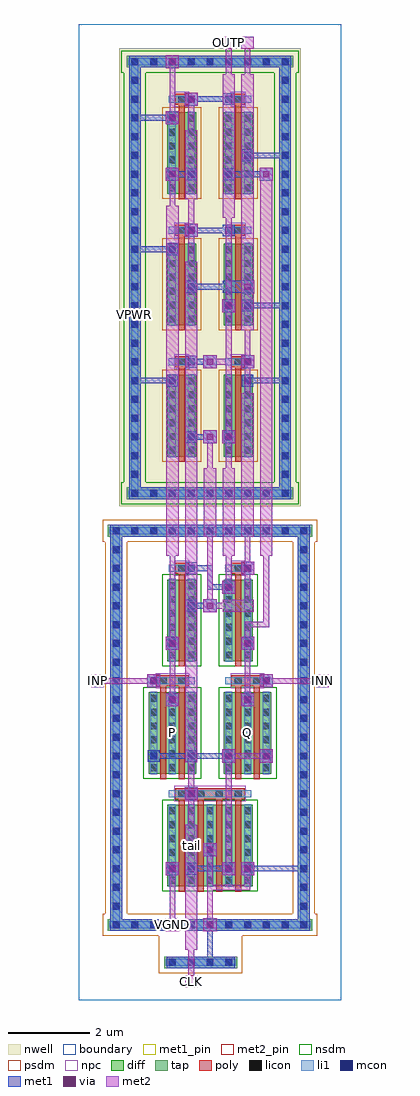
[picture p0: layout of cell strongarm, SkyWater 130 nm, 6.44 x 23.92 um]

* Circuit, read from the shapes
.subckt strongarm CLK INN INP OUTN OUTP P Q VGND VPWR tail
XM1 P INP tail VGND sky130_fd_pr__nfet_01v8 w=2 l=0.15 m=2
XM2 tail CLK VGND VGND sky130_fd_pr__nfet_01v8 w=2 l=0.15 m=4
XM3 OUTN OUTP P VGND sky130_fd_pr__nfet_01v8 w=2 l=0.15
XM4 Q INN tail VGND sky130_fd_pr__nfet_01v8 w=2 l=0.15 m=2
XM5 Q OUTN OUTP VGND sky130_fd_pr__nfet_01v8 w=2 l=0.15
XM6 OUTN OUTP VPWR VPWR sky130_fd_pr__pfet_01v8 w=2 l=0.15
XM7 OUTN CLK VPWR VPWR sky130_fd_pr__pfet_01v8 w=2 l=0.15
XM8 P CLK VPWR VPWR sky130_fd_pr__pfet_01v8 w=2 l=0.15
XM9 VPWR OUTN OUTP VPWR sky130_fd_pr__pfet_01v8 w=2 l=0.15
XM10 VPWR CLK OUTP VPWR sky130_fd_pr__pfet_01v8 w=2 l=0.15
XM11 VPWR CLK Q VPWR sky130_fd_pr__pfet_01v8 w=2 l=0.15
.ends

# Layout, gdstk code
import gdstk
lib = gdstk.Library(unit=1e-6, precision=1e-09)
def R(c, l, rs):  # rectangles x0, y0, x1, y1
    for r in rs: c.add(gdstk.rectangle(r[:2], r[2:], *l))
def A(c, l, x, y, w, h, nx, ny, dx, dy):  # array of equal rectangles
    R(c, l, [(x+i*dx, y+j*dy, x+i*dx+w, y+j*dy+h) for i in range(nx) for j in range(ny)])
nwell = (64, 20)
diff = (65, 20)
tap = (65, 44)
poly = (66, 20)
licon = (66, 44)
li1 = (67, 20)
mcon = (67, 44)
met1_pin = (68, 16)
met1 = (68, 20)
via = (68, 44)
met2_pin = (69, 16)
met2 = (69, 20)
nsdm = (93, 44)
psdm = (94, 20)
npc = (95, 20)
boundary = (235, 4)

strongarm = lib.new_cell('strongarm')
R(strongarm, nwell, [(0.995,12.095,5.445,23.325)])
A(strongarm, diff, 2.175, 13.32, 0.71, 2, 1, 3, 0, 3.22)
A(strongarm, diff, 3.555, 13.32, 0.71, 2, 1, 3, 0, 3.22)
R(strongarm, diff, [(2.175,2.785,4.265,4.785), (1.715,5.545,2.885,7.545), (3.555,5.545,4.725,7.545), (2.175,8.305,2.885,10.305), (3.555,8.305,4.265,10.305)])
R(strongarm, tap, [(2.095,0.775,3.885,1.065), (0.715,1.695,5.725,1.985), (0.775,1.695,1.065,11.645), (5.375,1.695,5.665,11.645), (0.715,11.355,5.725,11.645), (1.175,12.275,5.265,12.565), (1.235,12.275,1.525,23.145), (4.915,12.275,5.205,23.145), (1.175,22.855,5.265,23.145)])
A(strongarm, poly, 2.455, 2.655, 0.15, 2.405, 4, 1, 0.46, 0)
A(strongarm, poly, 2.455, 13.19, 0.15, 2.45, 1, 3, 0, 3.22)
A(strongarm, poly, 3.835, 13.19, 0.15, 2.45, 1, 3, 0, 3.22)
A(strongarm, poly, 2.365, 15.505, 0.33, 0.27, 1, 3, 0, 3.22)
A(strongarm, poly, 3.745, 15.505, 0.33, 0.27, 1, 3, 0, 3.22)
R(strongarm, poly, [(2.365,4.925,4.075,5.195), (1.995,5.415,2.145,7.82), (2.455,5.415,2.605,7.82), (3.835,5.415,3.985,7.82), (4.295,5.415,4.445,7.82), (1.905,7.685,2.695,7.955), (3.745,7.685,4.535,7.955), (2.455,8.175,2.605,10.58), (3.835,8.175,3.985,10.58), (2.365,10.445,2.695,10.715), (3.745,10.445,4.075,10.715)])
A(strongarm, licon, 2.215, 0.835, 0.17, 0.17, 4, 1, 0.46, 0)
A(strongarm, licon, 0.835, 1.755, 0.17, 0.17, 11, 2, 0.46, 9.66)
A(strongarm, licon, 0.835, 2.215, 0.17, 0.17, 1, 20, 0, 0.46)
A(strongarm, licon, 5.435, 2.215, 0.17, 0.17, 1, 20, 0, 0.46)
A(strongarm, licon, 2.215, 2.85, 0.17, 0.17, 5, 6, 0.46, 0.34)
A(strongarm, licon, 2.445, 4.975, 0.17, 0.17, 4, 1, 0.46, 0)
A(strongarm, licon, 1.755, 5.61, 0.17, 0.17, 3, 6, 0.46, 0.34)
A(strongarm, licon, 3.595, 5.61, 0.17, 0.17, 3, 6, 0.46, 0.34)
A(strongarm, licon, 2.215, 8.37, 0.17, 0.17, 1, 6, 0, 0.34)
A(strongarm, licon, 2.675, 8.37, 0.17, 0.17, 1, 6, 0, 0.34)
A(strongarm, licon, 3.595, 8.37, 0.17, 0.17, 1, 6, 0, 0.34)
A(strongarm, licon, 4.055, 8.37, 0.17, 0.17, 1, 6, 0, 0.34)
A(strongarm, licon, 1.295, 12.335, 0.17, 0.17, 9, 2, 0.46, 10.58)
A(strongarm, licon, 1.295, 12.795, 0.17, 0.17, 1, 22, 0, 0.46)
A(strongarm, licon, 4.975, 12.795, 0.17, 0.17, 1, 22, 0, 0.46)
A(strongarm, licon, 2.215, 13.385, 0.17, 0.17, 1, 6, 0, 0.34)
A(strongarm, licon, 2.675, 13.385, 0.17, 0.17, 1, 6, 0, 0.34)
A(strongarm, licon, 3.595, 13.385, 0.17, 0.17, 1, 6, 0, 0.34)
A(strongarm, licon, 4.055, 13.385, 0.17, 0.17, 1, 6, 0, 0.34)
A(strongarm, licon, 2.445, 15.555, 0.17, 0.17, 1, 3, 0, 3.22)
A(strongarm, licon, 3.825, 15.555, 0.17, 0.17, 1, 3, 0, 3.22)
A(strongarm, licon, 2.215, 16.605, 0.17, 0.17, 1, 6, 0, 0.34)
A(strongarm, licon, 2.675, 16.605, 0.17, 0.17, 1, 6, 0, 0.34)
A(strongarm, licon, 3.595, 16.605, 0.17, 0.17, 1, 6, 0, 0.34)
A(strongarm, licon, 4.055, 16.605, 0.17, 0.17, 1, 6, 0, 0.34)
A(strongarm, licon, 2.215, 19.825, 0.17, 0.17, 1, 6, 0, 0.34)
A(strongarm, licon, 2.675, 19.825, 0.17, 0.17, 1, 6, 0, 0.34)
A(strongarm, licon, 3.595, 19.825, 0.17, 0.17, 1, 6, 0, 0.34)
A(strongarm, licon, 4.055, 19.825, 0.17, 0.17, 1, 6, 0, 0.34)
R(strongarm, licon, [(1.985,7.735,2.155,7.905), (2.445,7.735,2.615,7.905), (3.825,7.735,3.995,7.905), (4.285,7.735,4.455,7.905), (2.445,10.495,2.615,10.665), (3.825,10.495,3.995,10.665)])
A(strongarm, li1, 2.215, 2.77, 0.17, 2.03, 5, 1, 0.46, 0)
A(strongarm, li1, 1.755, 5.53, 0.17, 2.03, 3, 1, 0.46, 0)
A(strongarm, li1, 3.595, 5.53, 0.17, 2.03, 3, 1, 0.46, 0)
A(strongarm, li1, 2.215, 13.305, 0.17, 2.03, 1, 3, 0, 3.22)
A(strongarm, li1, 2.675, 13.305, 0.17, 2.03, 1, 3, 0, 3.22)
A(strongarm, li1, 3.595, 13.305, 0.17, 2.03, 1, 3, 0, 3.22)
A(strongarm, li1, 4.055, 13.305, 0.17, 2.03, 1, 3, 0, 3.22)
A(strongarm, li1, 2.215, 15.555, 0.63, 0.17, 1, 3, 0, 3.22)
A(strongarm, li1, 3.595, 15.555, 0.63, 0.17, 1, 3, 0, 3.22)
R(strongarm, li1, [(2.135,0.835,3.845,1.005), (0.755,1.755,5.685,1.925), (0.835,1.755,1.005,11.585), (5.435,1.755,5.605,11.585), (2.215,4.975,4.225,5.145), (1.755,7.735,2.845,7.905), (3.595,7.735,4.685,7.905), (2.215,8.29,2.385,10.32), (2.675,8.29,2.845,10.32), (3.595,8.29,3.765,10.32), (4.055,8.29,4.225,10.32), (2.215,10.495,2.845,10.665), (3.595,10.495,4.225,10.665), (0.755,11.415,5.685,11.585), (1.215,12.335,5.225,12.505), (1.295,12.335,1.465,23.085), (4.975,12.335,5.145,23.085), (1.215,22.915,5.225,23.085)])
A(strongarm, mcon, 2.215, 0.835, 0.17, 0.17, 4, 1, 0.46, 0)
A(strongarm, mcon, 0.835, 1.755, 0.17, 0.17, 11, 2, 0.46, 9.66)
A(strongarm, mcon, 0.835, 2.215, 0.17, 0.17, 1, 3, 0, 0.46)
A(strongarm, mcon, 5.435, 2.215, 0.17, 0.17, 1, 3, 0, 0.46)
A(strongarm, mcon, 0.835, 3.595, 0.17, 0.17, 3, 1, 2.3, 0)
A(strongarm, mcon, 0.835, 4.055, 0.17, 0.17, 1, 4, 0, 0.46)
A(strongarm, mcon, 5.435, 4.055, 0.17, 0.17, 1, 4, 0, 0.46)
A(strongarm, mcon, 0.835, 5.895, 0.17, 0.17, 6, 1, 0.92, 0)
A(strongarm, mcon, 0.835, 6.355, 0.17, 0.17, 1, 11, 0, 0.46)
A(strongarm, mcon, 5.435, 6.355, 0.17, 0.17, 1, 9, 0, 0.46)
A(strongarm, mcon, 2.675, 10.495, 0.17, 0.17, 3, 1, 1.38, 0)
A(strongarm, mcon, 1.295, 12.335, 0.17, 0.17, 9, 2, 0.46, 10.58)
A(strongarm, mcon, 1.295, 12.795, 0.17, 0.17, 1, 6, 0, 0.46)
A(strongarm, mcon, 4.975, 12.795, 0.17, 0.17, 1, 22, 0, 0.46)
A(strongarm, mcon, 2.215, 15.095, 0.17, 0.17, 1, 3, 0, 3.22)
A(strongarm, mcon, 1.295, 15.555, 0.17, 0.17, 3, 1, 1.38, 0)
A(strongarm, mcon, 1.295, 16.015, 0.17, 0.17, 1, 15, 0, 0.46)
A(strongarm, mcon, 2.675, 17.395, 0.17, 0.17, 1, 3, 0, 1.38)
R(strongarm, mcon, [(2.215,3.135,2.385,3.305), (2.675,3.135,2.845,3.305), (3.595,3.135,3.765,3.305), (4.055,3.135,4.225,3.305), (2.675,4.975,2.845,5.145), (2.215,7.275,2.385,7.445), (4.055,7.275,4.225,7.445), (1.755,7.735,1.925,7.905), (4.515,7.735,4.685,7.905), (2.215,8.655,2.385,8.825), (4.055,8.655,4.225,8.825), (2.675,9.575,2.845,9.745), (3.595,10.035,3.765,10.205), (5.435,10.955,5.605,11.125), (2.675,13.715,2.845,13.885), (3.595,13.715,3.765,13.885), (4.055,15.095,4.225,15.265), (3.595,16.935,3.765,17.105), (4.055,16.935,4.225,17.105), (3.595,18.775,3.765,18.945), (3.595,20.155,3.765,20.325), (4.055,20.615,4.225,20.785), (2.675,21.995,2.845,22.165), (3.595,21.995,3.765,22.165)])
R(strongarm, met1_pin, [(2.14,1.68,2.46,2), (1.31,15.11,1.45,18.47)])
A(strongarm, met1, 1.695, 5.835, 0.29, 0.29, 4, 1, 0.92, 0)
A(strongarm, met1, 2.615, 13.655, 0.29, 0.29, 1, 3, 0, 1.84)
A(strongarm, met1, 2.155, 15.035, 0.29, 0.29, 1, 3, 0, 3.22)
A(strongarm, met1, 1.31, 15.11, 1.06, 0.14, 1, 3, 0, 3.22)
A(strongarm, met1, 2.14, 20.08, 0.32, 0.32, 1, 3, 0, 1.38)
R(strongarm, met1, [(2.155,0.775,3.825,1.065), (3.15,0.85,3.29,0.99), (3.15,0.85,3.29,1.91), (2.14,1.68,2.46,2), (3.06,1.68,3.38,2), (0.775,1.695,1.065,11.645), (0.775,1.695,5.665,1.985), (5.375,1.695,5.665,11.645), (2.23,1.77,3.29,1.91), (3.15,1.77,3.29,1.91), (2.14,3.06,2.46,3.38), (3.52,3.06,3.84,3.38), (3.98,3.06,4.3,3.38), (2.155,3.075,2.445,3.365), (2.615,3.075,2.905,3.365), (3.535,3.075,3.825,3.365), (3.995,3.075,4.285,3.365), (2.69,3.15,3.75,3.29), (4.07,3.15,5.59,3.29), (5.45,3.15,5.59,11.57), (3.06,3.52,3.38,3.84), (3.075,3.535,3.365,3.825), (2.6,4.9,2.92,5.22), (2.615,4.915,2.905,5.205), (3.52,5.82,3.84,6.14), (4.44,5.82,4.76,6.14), (1.77,5.91,2.83,6.05), (2.69,5.91,3.75,6.05), (2.14,7.2,2.46,7.52), (3.98,7.2,4.3,7.52), (2.155,7.215,2.445,7.505), (3.995,7.215,4.285,7.505), (1.68,7.66,2,7.98), (4.44,7.66,4.76,7.98), (1.695,7.675,1.985,7.965), (4.455,7.675,4.745,7.965), (2.14,8.58,2.46,8.9), (3.98,8.58,4.3,8.9), (2.155,8.595,2.445,8.885), (3.995,8.595,4.285,8.885), (3.06,9.5,3.38,9.82), (2.615,9.515,2.905,9.805), (2.69,9.59,3.29,9.73), (3.52,9.96,3.84,10.28), (3.535,9.975,3.825,10.265), (3.15,10.05,3.75,10.19), (3.15,10.05,3.29,10.65), (3.98,10.42,4.3,10.74), (2.615,10.435,2.905,10.725), (3.995,10.435,4.285,10.725), (2.69,10.51,3.29,10.65), (0.775,11.355,5.665,11.645), (5.45,11.43,5.59,11.57), (1.235,12.275,5.205,12.565), (1.235,12.275,1.525,23.145), (4.915,12.275,5.205,23.145), (3.06,13.64,3.38,13.96), (3.52,13.64,3.84,13.96), (3.535,13.655,3.825,13.945), (2.69,13.73,3.29,13.87), (3.995,15.035,4.285,15.325), (1.31,15.11,1.45,18.47), (4.07,15.11,5.13,15.25), (4.99,15.11,5.13,17.09), (3.06,15.48,3.38,15.8), (3.98,15.48,4.3,15.8), (3.995,15.495,4.285,15.785), (2.69,15.57,3.29,15.71), (3.52,16.86,3.84,17.18), (3.535,16.875,3.825,17.165), (3.995,16.875,4.285,17.165), (4.07,16.95,5.13,17.09), (4.99,16.95,5.13,17.09), (4.99,16.95,5.13,20.77), (3.98,17.32,4.3,17.64), (3.53,17.33,4.29,17.63), (2.69,17.41,3.75,17.55), (1.31,18.33,1.45,21.69), (2.6,18.7,2.92,19.02), (2.615,18.715,2.905,19.005), (3.535,18.715,3.825,19.005), (2.69,18.79,3.75,18.93), (4.44,20.08,4.76,20.4), (2.615,20.095,2.905,20.385), (3.535,20.095,3.825,20.385), (2.23,20.17,2.83,20.31), (3.61,20.17,4.67,20.31), (3.995,20.555,4.285,20.845), (4.07,20.63,5.13,20.77), (4.99,20.63,5.13,23.07), (2.6,21.92,2.92,22.24), (2.615,21.935,2.905,22.225), (3.535,21.935,3.825,22.225), (2.69,22.01,3.75,22.15), (1.235,22.855,5.205,23.145), (2.23,22.93,5.13,23.07), (4.99,22.93,5.13,23.07)])
A(strongarm, via, 2.225, 20.165, 0.15, 0.15, 1, 3, 0, 1.38)
R(strongarm, via, [(2.225,1.765,2.375,1.915), (3.145,1.765,3.295,1.915), (2.225,3.145,2.375,3.295), (3.605,3.145,3.755,3.295), (4.065,3.145,4.215,3.295), (3.145,3.605,3.295,3.755), (2.685,4.985,2.835,5.135), (3.605,5.905,3.755,6.055), (4.525,5.905,4.675,6.055), (2.225,7.285,2.375,7.435), (4.065,7.285,4.215,7.435), (1.765,7.745,1.915,7.895), (4.525,7.745,4.675,7.895), (2.225,8.665,2.375,8.815), (4.065,8.665,4.215,8.815), (3.145,9.585,3.295,9.735), (3.605,10.045,3.755,10.195), (4.065,10.505,4.215,10.655), (3.145,13.725,3.295,13.875), (3.605,13.725,3.755,13.875), (3.145,15.565,3.295,15.715), (4.065,15.565,4.215,15.715), (3.605,16.945,3.755,17.095), (4.065,17.405,4.215,17.555), (2.685,18.785,2.835,18.935), (4.525,20.165,4.675,20.315), (2.685,22.005,2.835,22.155)])
R(strongarm, met2_pin, [(2.61,0.31,2.91,0.61), (0.31,7.67,0.61,7.97), (5.83,7.67,6.13,7.97), (3.53,23.31,3.83,23.61), (3.99,23.31,4.29,23.61)])
A(strongarm, met2, 2.14, 20.08, 0.32, 0.32, 1, 3, 0, 1.38)
R(strongarm, met2, [(2.61,0.31,2.91,0.61), (2.69,0.39,2.83,1.45), (2.69,0.39,2.83,0.53), (2.61,1.23,2.91,4.29), (2.14,1.68,2.46,2), (3.06,1.68,3.38,2), (2.23,1.77,2.37,3.29), (3.15,1.77,3.29,3.75), (3.15,2.69,4.21,2.83), (4.07,2.69,4.21,3.29), (2.14,3.06,2.46,3.38), (3.52,3.06,3.84,3.38), (3.98,3.06,4.3,3.38), (3.61,3.15,3.75,6.05), (3.06,3.52,3.38,3.84), (2.69,4.07,2.83,5.13), (2.6,4.9,2.92,5.22), (2.69,4.99,2.83,6.05), (3.52,5.82,3.84,6.14), (4.44,5.82,4.76,6.14), (2.61,5.83,2.91,18.09), (3.61,5.91,4.67,6.05), (2.14,7.2,2.46,7.52), (3.98,7.2,4.3,7.52), (2.23,7.29,2.37,8.81), (4.07,7.29,4.21,8.81), (1.68,7.66,2,7.98), (4.44,7.66,4.76,7.98), (0.31,7.67,0.61,7.97), (5.83,7.67,6.13,7.97), (0.39,7.75,0.53,7.89), (0.39,7.75,1.91,7.89), (4.53,7.75,6.05,7.89), (5.91,7.75,6.05,7.89), (2.14,8.58,2.46,8.9), (3.98,8.58,4.3,8.9), (2.23,8.67,2.37,11.11), (4.07,8.67,4.21,9.27), (4.07,9.13,4.67,9.27), (4.53,9.13,4.67,11.11), (3.06,9.5,3.38,9.82), (3.53,9.51,4.29,9.81), (3.15,9.59,3.75,9.73), (3.15,9.59,3.29,11.57), (4.07,9.59,4.21,10.65), (3.52,9.96,3.84,10.28), (3.61,10.05,3.75,11.11), (3.98,10.42,4.3,10.74), (4.07,10.51,4.21,11.57), (2.15,10.89,2.45,19.47), (3.53,10.89,3.83,13.03), (4.45,10.89,4.75,20.39), (3.07,11.35,3.37,13.03), (3.99,11.35,4.29,14.87), (3.15,12.81,3.29,13.87), (3.61,12.81,3.75,13.87), (3.06,13.64,3.38,13.96), (3.52,13.64,3.84,13.96), (3.61,13.73,3.75,17.09), (4.07,14.65,4.21,15.71), (3.06,15.48,3.38,15.8), (3.98,15.48,4.3,15.8), (3.15,15.57,3.75,15.71), (4.07,15.57,4.21,16.63), (3.99,16.41,4.29,22.69), (3.52,16.86,3.84,17.18), (3.61,16.95,3.75,19.39), (3.98,17.32,4.3,17.64), (2.69,17.87,2.83,18.93), (2.6,18.7,2.92,19.02), (2.69,18.79,2.83,19.85), (3.53,19.17,3.83,22.69), (2.23,19.25,2.37,20.31), (2.61,19.63,2.91,21.31), (4.44,20.08,4.76,20.4), (2.69,21.09,2.83,22.15), (2.23,21.55,2.37,23.07), (2.6,21.92,2.92,22.24), (3.61,22.47,3.75,23.53), (4.07,22.47,4.21,23.53), (3.53,23.31,3.83,23.61), (3.99,23.31,4.29,23.61), (3.61,23.39,3.75,23.53), (4.07,23.39,4.21,23.53)])
R(strongarm, nsdm, [(2.05,2.66,4.39,4.91), (1.59,5.42,3.01,7.67), (3.43,5.42,4.85,7.67), (2.05,8.18,3.01,10.43), (3.43,8.18,4.39,10.43), (1.05,12.15,5.39,12.69), (1.11,12.69,1.65,22.73), (4.79,12.69,5.33,22.73), (1.05,22.73,5.39,23.27)])
A(strongarm, psdm, 2.05, 13.195, 0.96, 2.25, 1, 3, 0, 3.22)
A(strongarm, psdm, 3.43, 13.195, 0.96, 2.25, 1, 3, 0, 3.22)
R(strongarm, psdm, [(1.97,0.65,4.01,1.57), (0.59,1.57,5.85,2.11), (0.65,2.11,1.19,11.23), (5.25,2.11,5.79,11.23), (0.59,11.23,5.85,11.77)])
A(strongarm, npc, 2.345, 15.455, 0.37, 0.37, 1, 3, 0, 3.22)
A(strongarm, npc, 3.725, 15.455, 0.37, 0.37, 1, 3, 0, 3.22)
R(strongarm, npc, [(2.345,4.875,4.095,5.245), (1.885,7.635,2.715,8.005), (3.725,7.635,4.555,8.005), (2.345,10.395,2.715,10.765), (3.725,10.395,4.095,10.765)])
R(strongarm, boundary, [(0,0,6.44,23.92)])
strongarm.add(gdstk.Label('tail', (2.76,3.785), layer=67, texttype=5))
strongarm.add(gdstk.Label('P', (2.3,6.545), layer=67, texttype=5))
strongarm.add(gdstk.Label('Q', (4.14,6.545), layer=67, texttype=5))
strongarm.add(gdstk.Label('VPWR', (1.38,16.79), layer=68, texttype=5))
strongarm.add(gdstk.Label('VGND', (2.3,1.84), layer=68, texttype=5))
strongarm.add(gdstk.Label('CLK', (2.76,0.46), layer=69, texttype=5))
strongarm.add(gdstk.Label('INP', (0.46,7.82), layer=69, texttype=5))
strongarm.add(gdstk.Label('INN', (5.98,7.82), layer=69, texttype=5))
strongarm.add(gdstk.Label('OUTP', (3.68,23.46), layer=69, texttype=5))
strongarm.add(gdstk.Label('OUTN', (4.14,23.46), layer=69, texttype=5))
strongarm.add(gdstk.Label('VPWR', (1.38,16.79), layer=68, texttype=16))
strongarm.add(gdstk.Label('VGND', (2.3,1.84), layer=68, texttype=16))
strongarm.add(gdstk.Label('CLK', (2.76,0.46), layer=69, texttype=16))
strongarm.add(gdstk.Label('INP', (0.46,7.82), layer=69, texttype=16))
strongarm.add(gdstk.Label('INN', (5.98,7.82), layer=69, texttype=16))
strongarm.add(gdstk.Label('OUTP', (3.68,23.46), layer=69, texttype=16))
strongarm.add(gdstk.Label('OUTN', (4.14,23.46), layer=69, texttype=16))

lib.write_gds('strongarm.gds')
